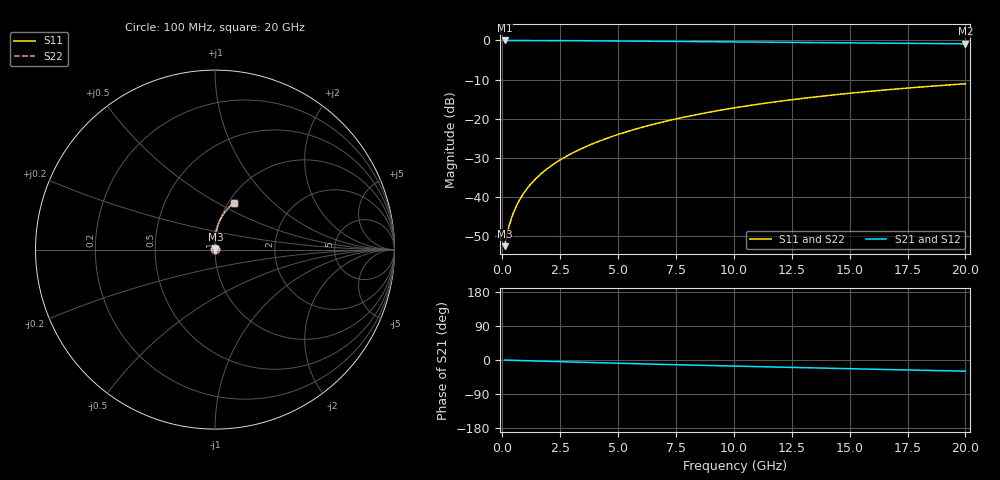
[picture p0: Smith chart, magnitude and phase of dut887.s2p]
! Touchstone file exported from HFSS 2024.1.0
!  File:  C:/UserFiles/LocalFiles/RDL_TSV_Batchsim/temp_RDL_bottom_887_1779865739.aedt
!  Generated:  03:11:33 PM May 27, 2026
!  Design:  RDL_bottom
!  Project:  temp_RDL_bottom_887_1779865739
!  Setup:  Setup1
!  Solution:  Sweep
! Variables:
!  dtsv = 10.80580581um
!  hbump = 3um
!  htsv = 67.87um
!  ldown = 400.64um
!  lrdl = 100um
!  p = 40
!  p1 = 53.04um
!  rhole = 1um
!  t = 450um
!  tdown = 3.2um
!  trdl = 3.915915916um
!  wdown = 25.89um
!  wrdl = 20um
# GHz S MA R 50.000000
! Terminal data exported
! Port[1] = RDL1_T1
! Port[2] = RDL1_T2
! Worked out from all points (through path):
!   200 points, 100 MHz to 20 GHz, reference 50 ohm
!   highest |S21| = -0.02 dB at 100 MHz (marker M1); lowest = -0.9 dB at 20 GHz (marker M2)
!   group delay of S21, straight-line fit = 4.05 ps
!   lowest |S11| = -52.5 dB at 100 MHz (marker M3), VSWR 1.00, Z = 50.2 + j0.132 ohm
!   |S11| at or under -10 dB: start of sweep to end of sweep
!   |S22| runs from -52.5 to -11.1 dB; largest |S21 - S12| = 2.1e-15
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0.1  0.002372 33.8  0.998 -0.2  0.998 -0.2  0.002372 33.8
! Gamma 0 0 0 0
! Port Impedance 50 0 50 0
0.2  0.003309 51.3  0.9979 -0.4  0.9979 -0.4  0.003309 51.3
0.3  0.004363 60.2  0.9978 -0.6  0.9978 -0.6  0.004363 60.2
0.4  0.005437 65.6  0.9976 -0.7  0.9976 -0.7  0.005437 65.6
0.5  0.006518 69.3  0.9975 -0.9  0.9975 -0.9  0.006518 69.3
0.6  0.007607 72.2  0.9973 -1.1  0.9973 -1.1  0.007607 72.2
0.8  0.009815 76.2  0.9971 -1.4  0.9971 -1.4  0.009816 76.2
1.1  0.0132 80.0  0.9966 -2.0  0.9966 -2.0  0.0132 80.0
1.3  0.0155 81.7  0.9963 -2.3  0.9963 -2.3  0.0155 81.7
1.6  0.019 83.5  0.9957 -2.8  0.9957 -2.8  0.019 83.5
2.1  0.02498 85.6  0.9944 -3.7  0.9944 -3.7  0.02498 85.6
2.7  0.03238 87.1  0.9926 -4.7  0.9926 -4.7  0.03238 87.1
3.5  0.04265 88.2  0.9896 -6.1  0.9896 -6.1  0.04265 88.2
4.2  0.052 88.6  0.9866 -7.3  0.9866 -7.3  0.052 88.6
5  0.06307 88.6  0.9829 -8.6  0.9829 -8.6  0.06307 88.6
6.8  0.08916 87.4  0.9737 -11.4  0.9737 -11.4  0.08916 87.4
8.4  0.1132 85.6  0.9653 -13.8  0.9653 -13.8  0.1132 85.6
10.1  0.139 83.3  0.9562 -16.2  0.9562 -16.2  0.139 83.3
11.7  0.1632 80.9  0.9478 -18.5  0.9478 -18.5  0.1631 80.8
13.4  0.1884 78.2  0.9389 -20.8  0.9389 -20.8  0.1884 78.2
16.7  0.2356 73.1  0.9217 -25.2  0.9217 -25.2  0.2355 73.1
20  0.2797 68.2  0.9043 -29.5  0.9043 -29.5  0.2797 68.2
